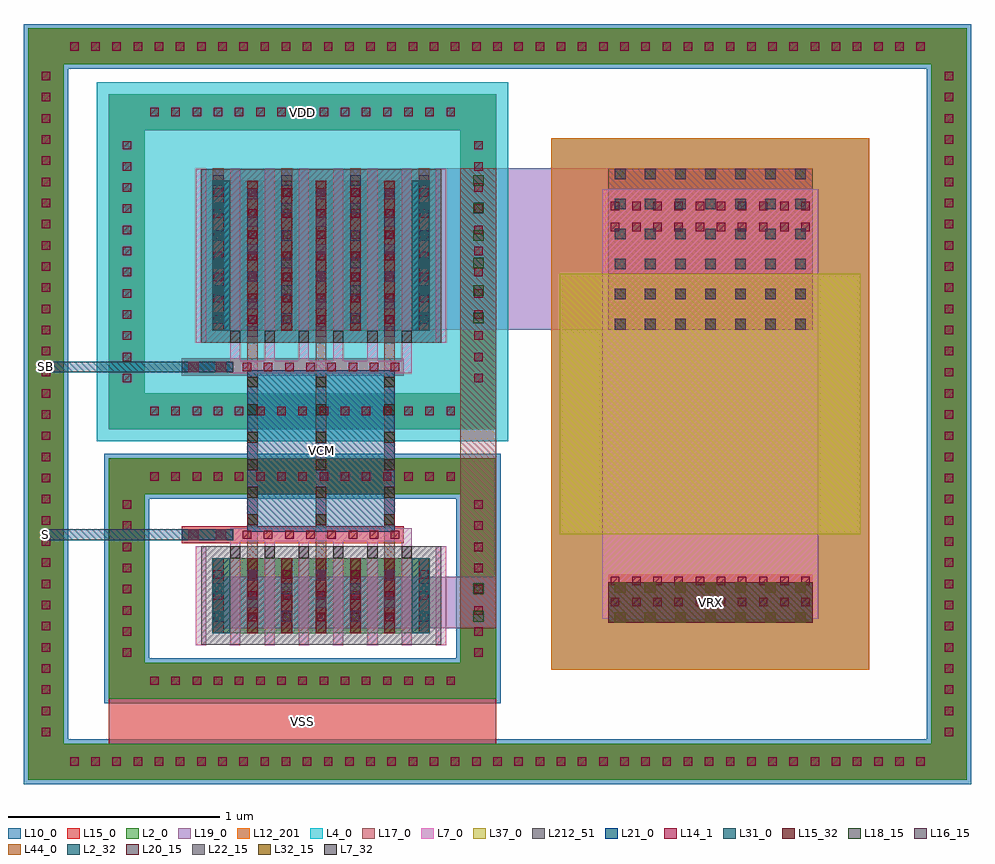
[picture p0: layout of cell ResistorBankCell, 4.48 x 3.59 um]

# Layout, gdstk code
import gdstk
lib = gdstk.Library(unit=1e-6, precision=1e-09)
def R(c, l, rs):  # rectangles x0, y0, x1, y1
    for r in rs: c.add(gdstk.rectangle(r[:2], r[2:], *l))
def A(c, l, x, y, w, h, nx, ny, dx, dy):  # array of equal rectangles
    R(c, l, [(x+i*dx, y+j*dy, x+i*dx+w, y+j*dy+h) for i in range(nx) for j in range(ny)])
L2_0 = (2, 0)
L2_32 = (2, 32)
L4_0 = (4, 0)
L7_0 = (7, 0)
L7_32 = (7, 32)
L10_0 = (10, 0)
L12_201 = (12, 201)
L14_1 = (14, 1)
L15_0 = (15, 0)
L15_32 = (15, 32)
L16_15 = (16, 15)
L17_0 = (17, 0)
L18_15 = (18, 15)
L19_0 = (19, 0)
L20_15 = (20, 15)
L21_0 = (21, 0)
L22_15 = (22, 15)
L31_0 = (31, 0)
L32_15 = (32, 15)
L37_0 = (37, 0)
L44_0 = (44, 0)
L212_51 = (212, 51)

nmosintransmissiongate = lib.new_cell('NMOSInTransmissionGate')
R(nmosintransmissiongate, L2_0, [(-0.514,-0.177,0.514,0.177)])
R(nmosintransmissiongate, L2_32, [(-0.514,-0.177,-0.429,0.177), (0.429,-0.177,0.514,0.177)])
A(nmosintransmissiongate, L7_0, -0.591, -0.234, 0.048, 0.468, 8, 1, 0.162, 0)
A(nmosintransmissiongate, L7_32, -0.429, -0.234, 0.048, 0.057, 6, 1, 0.162, 0)
A(nmosintransmissiongate, L14_1, -0.506, -0.12, 0.04, 0.04, 7, 3, 0.162, 0.1)
A(nmosintransmissiongate, L15_0, -0.511, -0.177, 0.05, 0.354, 7, 1, 0.162, 0)
A(nmosintransmissiongate, L15_32, -0.511, -0.177, 0.05, 0.354, 7, 1, 0.162, 0)
R(nmosintransmissiongate, L212_51, [(-0.567,-0.233,0.567,0.233)])

pmosintransmissiongate = lib.new_cell('PMOSInTransmissionGate')
R(pmosintransmissiongate, L2_0, [(-0.514,-0.354,0.514,0.354)])
R(pmosintransmissiongate, L2_32, [(-0.514,-0.354,-0.429,0.354), (0.429,-0.354,0.514,0.354)])
A(pmosintransmissiongate, L7_0, -0.591, -0.411, 0.048, 0.822, 8, 1, 0.162, 0)
A(pmosintransmissiongate, L7_32, -0.429, -0.411, 0.048, 0.057, 6, 1, 0.162, 0)
R(pmosintransmissiongate, L10_0, [(-0.57,-0.411,0.57,0.411)])
A(pmosintransmissiongate, L14_1, -0.506, -0.32, 0.04, 0.04, 7, 7, 0.162, 0.1)
A(pmosintransmissiongate, L15_0, -0.511, -0.354, 0.05, 0.708, 7, 1, 0.162, 0)
A(pmosintransmissiongate, L15_32, -0.511, -0.354, 0.05, 0.708, 7, 1, 0.162, 0)
R(pmosintransmissiongate, L212_51, [(-0.567,-0.41,0.567,0.41)])

viamet12met2onpmosoutput = lib.new_cell('ViaMet12Met2OnPMOSOutputInTransmissionGate')
R(viamet12met2onpmosoutput, L15_0, [(-0.025,-0.382,0.025,0.382)])
A(viamet12met2onpmosoutput, L16_15, -0.025, -0.35, 0.05, 0.05, 1, 6, 0, 0.13)
R(viamet12met2onpmosoutput, L17_0, [(-0.025,-0.382,0.025,0.382)])

viamet22met3onpmosoutput = lib.new_cell('ViaMet22Met3OnPMOSOutputInTransmissionGate')
R(viamet22met3onpmosoutput, L17_0, [(-0.025,-0.382,0.025,0.382)])
A(viamet22met3onpmosoutput, L18_15, -0.025, -0.35, 0.05, 0.05, 1, 6, 0, 0.13)
R(viamet22met3onpmosoutput, L19_0, [(-0.025,-0.382,0.025,0.382)])

viamet12met2onnmosoutput = lib.new_cell('ViaMet12Met2OnNMOSOutputInTransmissionGate')
R(viamet12met2onnmosoutput, L15_0, [(-0.025,-0.122,0.025,0.122)])
R(viamet12met2onnmosoutput, L16_15, [(-0.025,-0.09,0.025,-0.04), (-0.025,0.04,0.025,0.09)])
R(viamet12met2onnmosoutput, L17_0, [(-0.025,-0.122,0.025,0.122)])

viamet22met3onnmosoutput = lib.new_cell('ViaMet22Met3OnNMOSOutputInTransmissionGate')
R(viamet22met3onnmosoutput, L17_0, [(-0.025,-0.122,0.025,0.122)])
R(viamet22met3onnmosoutput, L18_15, [(-0.025,-0.09,0.025,-0.04), (-0.025,0.04,0.025,0.09)])
R(viamet22met3onnmosoutput, L19_0, [(-0.025,-0.122,0.025,0.122)])

viapoly2met1onpmoscontro = lib.new_cell('ViaPoly2Met1OnPMOSControlInTransmissionGate')
R(viapoly2met1onpmoscontro, L7_0, [(-0.38,-0.03,0.38,0.03)])
A(viapoly2met1onpmoscontro, L14_1, -0.37, -0.02, 0.04, 0.04, 8, 1, 0.1, 0)
R(viapoly2met1onpmoscontro, L15_0, [(-0.391,-0.041,0.391,0.041)])

viapoly2met1onnmoscontro = lib.new_cell('ViaPoly2Met1OnNMOSControlInTransmissionGate')
R(viapoly2met1onnmoscontro, L7_0, [(-0.38,-0.03,0.38,0.03)])
A(viapoly2met1onnmoscontro, L14_1, -0.37, -0.02, 0.04, 0.04, 8, 1, 0.1, 0)
R(viapoly2met1onnmoscontro, L15_0, [(-0.391,-0.041,0.391,0.041)])

transmissiongateinresist = lib.new_cell('TransmissionGateInResistorBank')
transmissiongateinresist.add(gdstk.FlexPath([(-0.405,0.402),(-0.405,0.72)], 0.048, ends="flush", simple_path=True, layer=7, datatype=0))  # L7_0
transmissiongateinresist.add(gdstk.FlexPath([(-0.243,0.402),(-0.243,0.72)], 0.048, ends="flush", simple_path=True, layer=7, datatype=0))  # L7_0
transmissiongateinresist.add(gdstk.FlexPath([(-0.081,0.402),(-0.081,0.72)], 0.048, ends="flush", simple_path=True, layer=7, datatype=0))  # L7_0
transmissiongateinresist.add(gdstk.FlexPath([(0.081,0.402),(0.081,0.72)], 0.048, ends="flush", simple_path=True, layer=7, datatype=0))  # L7_0
transmissiongateinresist.add(gdstk.FlexPath([(0.243,0.402),(0.243,0.72)], 0.048, ends="flush", simple_path=True, layer=7, datatype=0))  # L7_0
transmissiongateinresist.add(gdstk.FlexPath([(0.405,0.402),(0.405,0.72)], 0.048, ends="flush", simple_path=True, layer=7, datatype=0))  # L7_0
transmissiongateinresist.add(gdstk.FlexPath([(-0.405,2.008),(-0.405,1.453)], 0.048, ends="flush", simple_path=True, layer=7, datatype=0))  # L7_0
transmissiongateinresist.add(gdstk.FlexPath([(-0.243,2.008),(-0.243,1.453)], 0.048, ends="flush", simple_path=True, layer=7, datatype=0))  # L7_0
transmissiongateinresist.add(gdstk.FlexPath([(-0.081,2.008),(-0.081,1.453)], 0.048, ends="flush", simple_path=True, layer=7, datatype=0))  # L7_0
transmissiongateinresist.add(gdstk.FlexPath([(0.081,2.008),(0.081,1.453)], 0.048, ends="flush", simple_path=True, layer=7, datatype=0))  # L7_0
transmissiongateinresist.add(gdstk.FlexPath([(0.243,2.008),(0.243,1.453)], 0.048, ends="flush", simple_path=True, layer=7, datatype=0))  # L7_0
transmissiongateinresist.add(gdstk.FlexPath([(0.405,2.008),(0.405,1.453)], 0.048, ends="flush", simple_path=True, layer=7, datatype=0))  # L7_0
transmissiongateinresist.add(gdstk.FlexPath([(-0.405,0.69),(0.405,0.69)], 0.06, ends="flush", simple_path=True, layer=7, datatype=0))  # L7_0
transmissiongateinresist.add(gdstk.FlexPath([(-0.405,1.483),(0.405,1.483)], 0.06, ends="flush", simple_path=True, layer=7, datatype=0))  # L7_0
transmissiongateinresist.add(gdstk.Reference(nmosintransmissiongate, (0,0.402), x_reflection=True))
transmissiongateinresist.add(gdstk.Reference(pmosintransmissiongate, (0,2.008)))
transmissiongateinresist.add(gdstk.Reference(viamet12met2onpmosoutput, (-0.324,1.976)))
transmissiongateinresist.add(gdstk.Reference(viamet12met2onpmosoutput, (0,1.976)))
transmissiongateinresist.add(gdstk.Reference(viamet12met2onpmosoutput, (0.324,1.976)))
transmissiongateinresist.add(gdstk.Reference(viamet12met2onpmosoutput, (-0.486,2.04)))
transmissiongateinresist.add(gdstk.Reference(viamet12met2onpmosoutput, (-0.162,2.04)))
transmissiongateinresist.add(gdstk.Reference(viamet12met2onpmosoutput, (0.162,2.04)))
transmissiongateinresist.add(gdstk.Reference(viamet12met2onpmosoutput, (0.486,2.04)))
transmissiongateinresist.add(gdstk.Reference(viamet22met3onpmosoutput, (-0.486,2.04)))
transmissiongateinresist.add(gdstk.Reference(viamet22met3onpmosoutput, (-0.162,2.04)))
transmissiongateinresist.add(gdstk.Reference(viamet22met3onpmosoutput, (0.162,2.04)))
transmissiongateinresist.add(gdstk.Reference(viamet22met3onpmosoutput, (0.486,2.04)))
transmissiongateinresist.add(gdstk.Reference(viamet12met2onnmosoutput, (-0.324,0.434)))
transmissiongateinresist.add(gdstk.Reference(viamet12met2onnmosoutput, (0,0.434)))
transmissiongateinresist.add(gdstk.Reference(viamet12met2onnmosoutput, (0.324,0.434)))
transmissiongateinresist.add(gdstk.Reference(viamet12met2onnmosoutput, (-0.486,0.37)))
transmissiongateinresist.add(gdstk.Reference(viamet12met2onnmosoutput, (-0.162,0.37)))
transmissiongateinresist.add(gdstk.Reference(viamet12met2onnmosoutput, (0.162,0.37)))
transmissiongateinresist.add(gdstk.Reference(viamet12met2onnmosoutput, (0.486,0.37)))
transmissiongateinresist.add(gdstk.Reference(viamet22met3onnmosoutput, (-0.486,0.37)))
transmissiongateinresist.add(gdstk.Reference(viamet22met3onnmosoutput, (-0.162,0.37)))
transmissiongateinresist.add(gdstk.Reference(viamet22met3onnmosoutput, (0.162,0.37)))
transmissiongateinresist.add(gdstk.Reference(viamet22met3onnmosoutput, (0.486,0.37)))
transmissiongateinresist.add(gdstk.Reference(viapoly2met1onpmoscontro, (0,1.483)))
transmissiongateinresist.add(gdstk.Reference(viapoly2met1onnmoscontro, (0,0.69)))

viamet12met2oninputinres = lib.new_cell('ViaMet12Met2OnInputInResistorBank')
R(viamet12met2oninputinres, L15_0, [(-0.122,-0.025,0.122,0.025)])
R(viamet12met2oninputinres, L16_15, [(-0.09,-0.025,-0.04,0.025), (0.04,-0.025,0.09,0.025)])
R(viamet12met2oninputinres, L17_0, [(-0.122,-0.025,0.122,0.025)])

viamet22met3oninputinres = lib.new_cell('ViaMet22Met3OnInputInResistorBank')
R(viamet22met3oninputinres, L17_0, [(-0.122,-0.025,0.122,0.025)])
R(viamet22met3oninputinres, L18_15, [(-0.09,-0.025,-0.04,0.025), (0.04,-0.025,0.09,0.025)])
R(viamet22met3oninputinres, L19_0, [(-0.122,-0.025,0.122,0.025)])

viamet32met4oninputinres = lib.new_cell('ViaMet32Met4OnInputInResistorBank')
R(viamet32met4oninputinres, L19_0, [(-0.122,-0.025,0.122,0.025)])
R(viamet32met4oninputinres, L20_15, [(-0.09,-0.025,-0.04,0.025), (0.04,-0.025,0.09,0.025)])
R(viamet32met4oninputinres, L21_0, [(-0.122,-0.025,0.122,0.025)])

viamet42met5oninputinres = lib.new_cell('ViaMet42Met5OnInputInResistorBank')
R(viamet42met5oninputinres, L21_0, [(-0.122,-0.025,0.122,0.025)])
R(viamet42met5oninputinres, L22_15, [(-0.09,-0.025,-0.04,0.025), (0.04,-0.025,0.09,0.025)])
R(viamet42met5oninputinres, L31_0, [(-0.122,-0.025,0.122,0.025)])

opppcresinresistorbank = lib.new_cell('OpppcresInResistorBank')
R(opppcresinresistorbank, L7_0, [(-0.511,-1.016,0.511,1.016)])
R(opppcresinresistorbank, L10_0, [(-0.751,-1.256,0.751,1.256)])
R(opppcresinresistorbank, L12_201, [(-0.751,-1.256,0.751,1.256)])
A(opppcresinresistorbank, L14_1, -0.47, -0.956, 0.04, 0.04, 10, 2, 0.1, 0.1)
A(opppcresinresistorbank, L14_1, -0.47, 0.816, 0.04, 0.04, 10, 2, 0.1, 0.1)
R(opppcresinresistorbank, L15_0, [(-0.482,-0.968,0.482,-0.804), (-0.482,0.804,0.482,0.968)])
R(opppcresinresistorbank, L37_0, [(-0.711,-0.616,0.711,0.616)])

pmossubringinresistorban = lib.new_cell('PMOSSubringInResistorBank')
R(pmossubringinresistorban, L2_0, [(-0.916,-0.792,0.916,-0.622), (-0.916,-0.792,-0.746,0.792), (0.746,-0.792,0.916,0.792), (-0.916,0.622,0.916,0.792)])
A(pmossubringinresistorban, L14_1, -0.72, -0.727, 0.04, 0.04, 15, 2, 0.1, 1.414)
A(pmossubringinresistorban, L14_1, -0.851, -0.57, 0.04, 0.04, 1, 12, 0, 0.1)
A(pmossubringinresistorban, L14_1, 0.811, -0.57, 0.04, 0.04, 1, 12, 0, 0.1)
R(pmossubringinresistorban, L15_0, [(-0.916,-0.792,0.916,-0.622), (-0.916,-0.792,-0.746,0.792), (0.746,-0.792,0.916,0.792), (-0.916,0.622,0.916,0.792)])
pmossubringinresistorban.add(gdstk.FlexPath([(0.831,0.848),(0.831,-0.707),(-0.831,-0.707),(-0.831,0.707),(0.972,0.707)], 0.282, ends="flush", simple_path=True, layer=4, datatype=0))  # L4_0

nmossubringinresistorban = lib.new_cell('NMOSSubringInResistorBank')
R(nmossubringinresistorban, L2_0, [(-0.916,-0.568,0.916,-0.398), (-0.916,-0.568,-0.746,0.568), (0.746,-0.568,0.916,0.568), (-0.916,0.398,0.916,0.568)])
A(nmossubringinresistorban, L14_1, -0.72, -0.503, 0.04, 0.04, 15, 2, 0.1, 0.966)
A(nmossubringinresistorban, L14_1, -0.851, -0.37, 0.04, 0.04, 1, 8, 0, 0.1)
A(nmossubringinresistorban, L14_1, 0.811, -0.37, 0.04, 0.04, 1, 8, 0, 0.1)
R(nmossubringinresistorban, L15_0, [(-0.916,-0.568,0.916,-0.398), (-0.916,-0.568,-0.746,0.568), (0.746,-0.568,0.916,0.568), (-0.916,0.398,0.916,0.568)])
nmossubringinresistorban.add(gdstk.FlexPath([(0.831,0.589),(0.831,-0.483),(-0.831,-0.483),(-0.831,0.483),(0.937,0.483)], 0.212, ends="flush", simple_path=True, layer=10, datatype=0))  # L10_0

totalsubringinresistorba = lib.new_cell('TotalSubringInResistorBank')
R(totalsubringinresistorba, L2_0, [(-2.219,-1.775,2.219,-1.605), (-2.219,-1.775,-2.049,1.775), (2.049,-1.775,2.219,1.775), (-2.219,1.605,2.219,1.775)])
A(totalsubringinresistorba, L14_1, -2.02, -1.71, 0.04, 0.04, 41, 2, 0.1, 3.38)
A(totalsubringinresistorba, L14_1, -2.154, -1.57, 0.04, 0.04, 1, 32, 0, 0.1)
A(totalsubringinresistorba, L14_1, 2.114, -1.57, 0.04, 0.04, 1, 32, 0, 0.1)
R(totalsubringinresistorba, L15_0, [(-2.219,-1.775,2.219,-1.605), (-2.219,-1.775,-2.049,1.775), (2.049,-1.775,2.219,1.775), (-2.219,1.605,2.219,1.775)])
totalsubringinresistorba.add(gdstk.FlexPath([(2.134,1.796),(2.134,-1.69),(-2.134,-1.69),(-2.134,1.69),(2.24,1.69)], 0.212, ends="flush", simple_path=True, layer=10, datatype=0))  # L10_0

viamet12met2onresistorin = lib.new_cell('ViaMet12Met2OnResistorInResistorBank')
R(viamet12met2onresistorin, L15_0, [(-0.483,-0.38,0.483,0.38)])
A(viamet12met2onresistorin, L16_15, -0.451, -0.38, 0.05, 0.05, 7, 6, 0.142, 0.142)
R(viamet12met2onresistorin, L17_0, [(-0.483,-0.38,0.483,0.38)])

viamet12met2onresistor1i = lib.new_cell('ViaMet12Met2OnResistor1InResistorBank')
R(viamet12met2onresistor1i, L15_0, [(-0.483,-0.096,0.483,0.096)])
A(viamet12met2onresistor1i, L16_15, -0.451, -0.096, 0.05, 0.05, 7, 2, 0.142, 0.142)
R(viamet12met2onresistor1i, L17_0, [(-0.483,-0.096,0.483,0.096)])

viamet22met3onresistorin = lib.new_cell('ViaMet22Met3OnResistorInResistorBank')
R(viamet22met3onresistorin, L17_0, [(-0.483,-0.38,0.483,0.38)])
A(viamet22met3onresistorin, L18_15, -0.451, -0.38, 0.05, 0.05, 7, 6, 0.142, 0.142)
R(viamet22met3onresistorin, L19_0, [(-0.483,-0.38,0.483,0.38)])

viamet22met3onresistor1i = lib.new_cell('ViaMet22Met3OnResistor1InResistorBank')
R(viamet22met3onresistor1i, L17_0, [(-0.483,-0.096,0.483,0.096)])
A(viamet22met3onresistor1i, L18_15, -0.451, -0.096, 0.05, 0.05, 7, 2, 0.142, 0.142)
R(viamet22met3onresistor1i, L19_0, [(-0.483,-0.096,0.483,0.096)])

viamet32met4onresistorin = lib.new_cell('ViaMet32Met4OnResistorInResistorBank')
R(viamet32met4onresistorin, L19_0, [(-0.483,-0.096,0.483,0.096)])
A(viamet32met4onresistorin, L20_15, -0.451, -0.096, 0.05, 0.05, 7, 2, 0.142, 0.142)
R(viamet32met4onresistorin, L21_0, [(-0.483,-0.096,0.483,0.096)])

viamet42met5onresistorin = lib.new_cell('ViaMet42Met5OnResistorInResistorBank')
R(viamet42met5onresistorin, L21_0, [(-0.483,-0.096,0.483,0.096)])
A(viamet42met5onresistorin, L22_15, -0.451, -0.096, 0.05, 0.05, 7, 2, 0.142, 0.142)
R(viamet42met5onresistorin, L31_0, [(-0.483,-0.096,0.483,0.096)])

viamet52met6onresistorin = lib.new_cell('ViaMet52Met6OnResistorInResistorBank')
R(viamet52met6onresistorin, L31_0, [(-0.483,-0.096,0.483,0.096)])
A(viamet52met6onresistorin, L32_15, -0.451, -0.096, 0.05, 0.05, 7, 2, 0.142, 0.142)
R(viamet52met6onresistorin, L44_0, [(-0.483,-0.096,0.483,0.096)])

viavcmmet22met3inresisto = lib.new_cell('ViaVCMMet22Met3InResistorBank')
R(viavcmmet22met3inresisto, L17_0, [(-0.025,-0.382,0.025,0.382)])
A(viavcmmet22met3inresisto, L18_15, -0.025, -0.35, 0.05, 0.05, 1, 6, 0, 0.13)
R(viavcmmet22met3inresisto, L19_0, [(-0.025,-0.382,0.025,0.382)])

viavcmmet32met4inresisto = lib.new_cell('ViaVCMMet32Met4InResistorBank')
R(viavcmmet32met4inresisto, L19_0, [(-0.025,-0.382,0.025,0.382)])
A(viavcmmet32met4inresisto, L20_15, -0.025, -0.35, 0.05, 0.05, 1, 6, 0, 0.13)
R(viavcmmet32met4inresisto, L21_0, [(-0.025,-0.382,0.025,0.382)])

viatgpmos2resmet22met3in = lib.new_cell('ViaTGPMOS2ResMet22Met3InResistorBank')
R(viatgpmos2resmet22met3in, L17_0, [(-0.057,-0.35,0.057,0.35)])
A(viatgpmos2resmet22met3in, L18_15, -0.025, -0.35, 0.05, 0.05, 1, 6, 0, 0.13)
R(viatgpmos2resmet22met3in, L19_0, [(-0.057,-0.35,0.057,0.35)])

viatgnmos2resmet22met3in = lib.new_cell('ViaTGNMOS2ResMet22Met3InResistorBank')
R(viatgnmos2resmet22met3in, L17_0, [(-0.057,-0.09,0.057,0.09)])
R(viatgnmos2resmet22met3in, L18_15, [(-0.025,-0.09,0.025,-0.04), (-0.025,0.04,0.025,0.09)])
R(viatgnmos2resmet22met3in, L19_0, [(-0.057,-0.09,0.057,0.09)])

resistorbankcell = lib.new_cell('ResistorBankCell')
R(resistorbankcell, L15_0, [(-1.003,-0.467,0.829,0.085)])
A(resistorbankcell, L17_0, -0.349, 0.312, 0.05, 2.046, 3, 1, 0.324, 0)
R(resistorbankcell, L21_0, [(-0.324,0.704,0.324,1.468)])
resistorbankcell.add(gdstk.FlexPath([(-0.537,1.483),(-1.3,1.483)], 0.05, ends="flush", simple_path=True, layer=31, datatype=0))  # L31_0
resistorbankcell.add(gdstk.FlexPath([(-0.537,0.69),(-1.3,0.69)], 0.05, ends="flush", simple_path=True, layer=31, datatype=0))  # L31_0
resistorbankcell.add(gdstk.FlexPath([(-0.833,1.981),(0.659,1.981)], 1.244, ends="flush", simple_path=True, layer=4, datatype=0))  # L4_0
resistorbankcell.add(gdstk.FlexPath([(-0.659,1.483),(0,1.483)], 0.082, ends="flush", simple_path=True, layer=15, datatype=0))  # L15_0
resistorbankcell.add(gdstk.FlexPath([(-0.659,0.69),(0,0.69)], 0.082, ends="flush", simple_path=True, layer=15, datatype=0))  # L15_0
resistorbankcell.add(gdstk.FlexPath([(1.84,1.66),(1.84,2.42)], 0.966, ends="flush", simple_path=True, layer=15, datatype=0))  # L15_0
resistorbankcell.add(gdstk.FlexPath([(1.84,0.504),(1.84,0.274)], 0.966, ends="flush", simple_path=True, layer=15, datatype=0))  # L15_0
resistorbankcell.add(gdstk.FlexPath([(-0.486,2.04),(2.323,2.04)], 0.764, ends="flush", simple_path=True, layer=19, datatype=0))  # L19_0
resistorbankcell.add(gdstk.FlexPath([(-0.486,0.37),(0.829,0.37)], 0.244, ends="flush", simple_path=True, layer=19, datatype=0))  # L19_0
resistorbankcell.add(gdstk.FlexPath([(0.744,2.422),(0.744,0.248)], 0.17, ends="flush", simple_path=True, layer=17, datatype=0))  # L17_0
resistorbankcell.add(gdstk.Reference(transmissiongateinresist, (0,0)))
resistorbankcell.add(gdstk.Reference(viamet12met2oninputinres, (-0.537,1.483)))
resistorbankcell.add(gdstk.Reference(viamet12met2oninputinres, (-0.537,0.69)))
resistorbankcell.add(gdstk.Reference(viamet22met3oninputinres, (-0.537,1.483)))
resistorbankcell.add(gdstk.Reference(viamet22met3oninputinres, (-0.537,0.69)))
resistorbankcell.add(gdstk.Reference(viamet32met4oninputinres, (-0.537,1.483)))
resistorbankcell.add(gdstk.Reference(viamet32met4oninputinres, (-0.537,0.69)))
resistorbankcell.add(gdstk.Reference(viamet42met5oninputinres, (-0.537,1.483)))
resistorbankcell.add(gdstk.Reference(viamet42met5oninputinres, (-0.537,0.69)))
resistorbankcell.add(gdstk.Reference(opppcresinresistorbank, (1.84,1.308)))
resistorbankcell.add(gdstk.Reference(pmossubringinresistorban, (-0.087,1.981)))
resistorbankcell.add(gdstk.Reference(nmossubringinresistorban, (-0.087,0.483)))
resistorbankcell.add(gdstk.Reference(totalsubringinresistorba, (0.834,1.308)))
resistorbankcell.add(gdstk.Reference(viamet12met2onresistorin, (1.84,2.04)))
resistorbankcell.add(gdstk.Reference(viamet12met2onresistor1i, (1.84,0.37)))
resistorbankcell.add(gdstk.Reference(viamet22met3onresistorin, (1.84,2.04)))
resistorbankcell.add(gdstk.Reference(viamet22met3onresistor1i, (1.84,0.37)))
resistorbankcell.add(gdstk.Reference(viamet32met4onresistorin, (1.84,0.37)))
resistorbankcell.add(gdstk.Reference(viamet42met5onresistorin, (1.84,0.37)))
resistorbankcell.add(gdstk.Reference(viamet52met6onresistorin, (1.84,0.37)))
resistorbankcell.add(gdstk.Reference(viavcmmet22met3inresisto, (-0.324,1.086)))
resistorbankcell.add(gdstk.Reference(viavcmmet22met3inresisto, (0,1.086)))
resistorbankcell.add(gdstk.Reference(viavcmmet22met3inresisto, (0.324,1.086)))
resistorbankcell.add(gdstk.Reference(viavcmmet32met4inresisto, (-0.324,1.086)))
resistorbankcell.add(gdstk.Reference(viavcmmet32met4inresisto, (0,1.086)))
resistorbankcell.add(gdstk.Reference(viavcmmet32met4inresisto, (0.324,1.086)))
resistorbankcell.add(gdstk.Reference(viatgpmos2resmet22met3in, (0.744,2.04)))
resistorbankcell.add(gdstk.Reference(viatgnmos2resmet22met3in, (0.744,0.37)))
resistorbankcell.add(gdstk.Label('VDD', (-0.087,2.688), layer=15, texttype=20))
resistorbankcell.add(gdstk.Label('VSS', (-0.087,-0.191), layer=15, texttype=20))
resistorbankcell.add(gdstk.Label('S', (-1.3,0.69), layer=31, texttype=20))
resistorbankcell.add(gdstk.Label('SB', (-1.3,1.483), layer=31, texttype=20))
resistorbankcell.add(gdstk.Label('VRX', (1.84,0.37), layer=44, texttype=20))
resistorbankcell.add(gdstk.Label('VCM', (0,1.086), layer=21, texttype=20))

lib.write_gds('ResistorBankCell.gds')
